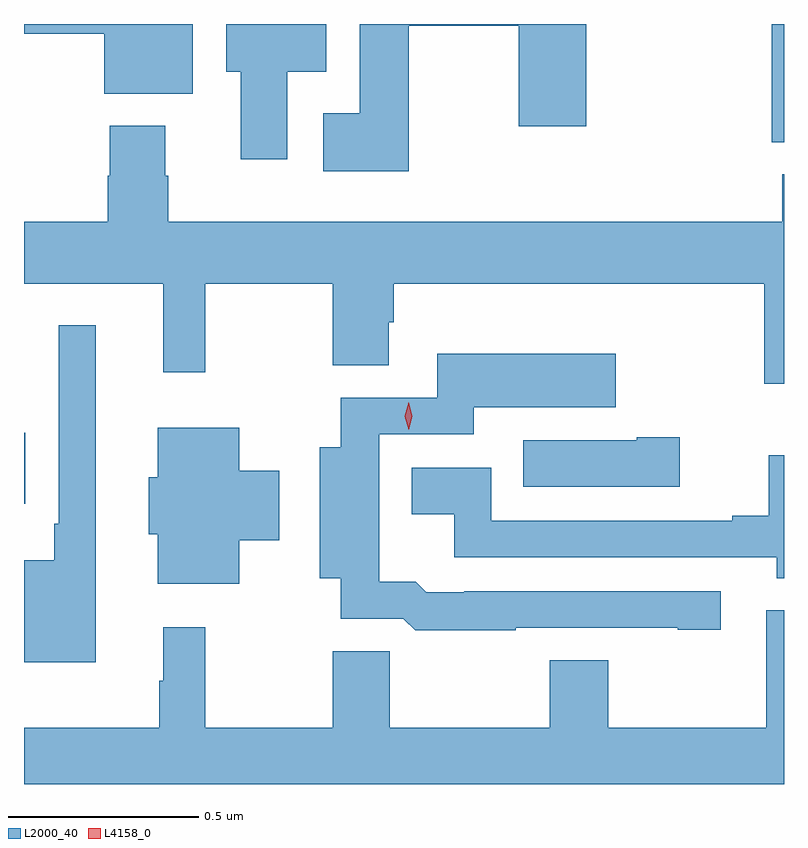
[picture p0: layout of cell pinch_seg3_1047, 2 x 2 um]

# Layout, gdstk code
import gdstk
lib = gdstk.Library(unit=1e-6, precision=1e-09)
def R(c, l, rs):  # rectangles x0, y0, x1, y1
    for r in rs: c.add(gdstk.rectangle(r[:2], r[2:], *l))
def P(c, l, *ps):  # polygons
    for p in ps: c.add(gdstk.Polygon(p, *l))
L2000_40 = (2000, 40)
L4158_0 = (4158, 0)

pinch_seg3_1047 = lib.new_cell('pinch_seg3_1047')
R(pinch_seg3_1047, L2000_40, [(575.179,693.677,575.182,693.865), (577.147,694.629,577.179,694.94)])
P(pinch_seg3_1047, L2000_40, [(575.872,694.814),(575.974,694.814),(575.974,694.94),(575.711,694.94),(575.711,694.814),(575.75,694.814),(575.75,694.584),(575.872,694.584)],
  [(575.623,694.94),(575.179,694.94),(575.179,694.915),(575.39,694.915),(575.39,694.757),(575.623,694.757)],
  [(576.192,694.936),(576.481,694.936),(576.481,694.671),(576.659,694.671),(576.659,694.94),(576.062,694.94),(576.062,694.705),(575.967,694.705),(575.967,694.553),(576.192,694.553)],
  [(577.179,694.544),(577.175,694.544),(577.175,694.42),(575.559,694.42),(575.559,694.541),(575.551,694.541),(575.551,694.672),(575.404,694.672),(575.404,694.541),(575.399,694.541),(575.399,694.42),(575.179,694.42),(575.179,694.256),(575.546,694.256),(575.546,694.023),(575.656,694.023),(575.656,694.256),(575.992,694.256),(575.992,694.042),(576.139,694.042),(576.139,694.155),(576.152,694.155),(576.152,694.256),(577.127,694.256),(577.127,693.993),(577.179,693.993)],
  [(575.368,694.147),(575.271,694.147),(575.271,693.625),(575.259,693.625),(575.259,693.529),(575.179,693.529),(575.179,693.26),(575.368,693.26)],
  [(576.473,693.351),(576.899,693.351),(576.899,693.346),(577.012,693.346),(577.012,693.447),(576.337,693.447),(576.337,693.444),(576.238,693.444),(576.21,693.472),(576.114,693.472),(576.114,693.861),(576.363,693.861),(576.363,693.932),(576.736,693.932),(576.736,694.072),(576.267,694.072),(576.267,693.957),(576.013,693.957),(576.013,693.826),(575.957,693.826),(575.957,693.482),(576.013,693.482),(576.013,693.375),(576.177,693.375),(576.209,693.344),(576.473,693.344)],
  [(575.746,693.581),(575.851,693.581),(575.851,693.764),(575.746,693.764),(575.746,693.877),(575.531,693.877),(575.531,693.747),(575.507,693.747),(575.507,693.597),(575.531,693.597),(575.531,693.467),(575.746,693.467)],
  [(576.904,693.852),(576.791,693.852),(576.791,693.844),(576.493,693.844),(576.493,693.722),(576.904,693.722)],
  [(577.179,693.805),(577.139,693.805),(577.139,693.646),(577.043,693.646),(577.043,693.633),(576.408,693.633),(576.408,693.772),(576.199,693.772),(576.199,693.65),(576.311,693.65),(576.311,693.537),(577.16,693.537),(577.16,693.482),(577.179,693.482)],
  [(577.179,693.397),(577.132,693.397),(577.132,693.088),(576.717,693.088),(576.717,693.266),(576.562,693.266),(576.562,693.088),(576.142,693.088),(576.142,693.29),(575.992,693.29),(575.992,693.088),(575.656,693.088),(575.656,693.352),(575.546,693.352),(575.546,693.212),(575.535,693.212),(575.535,693.088),(575.179,693.088),(575.179,692.94),(577.179,692.94)])
P(pinch_seg3_1047, L4158_0, [(576.191,693.872),(576.191,693.872),(576.181,693.908),(576.191,693.944),(576.191,693.945),(576.191,693.944),(576.201,693.908),(576.191,693.872)])

lib.write_gds('pinch_seg3_1047.gds')
